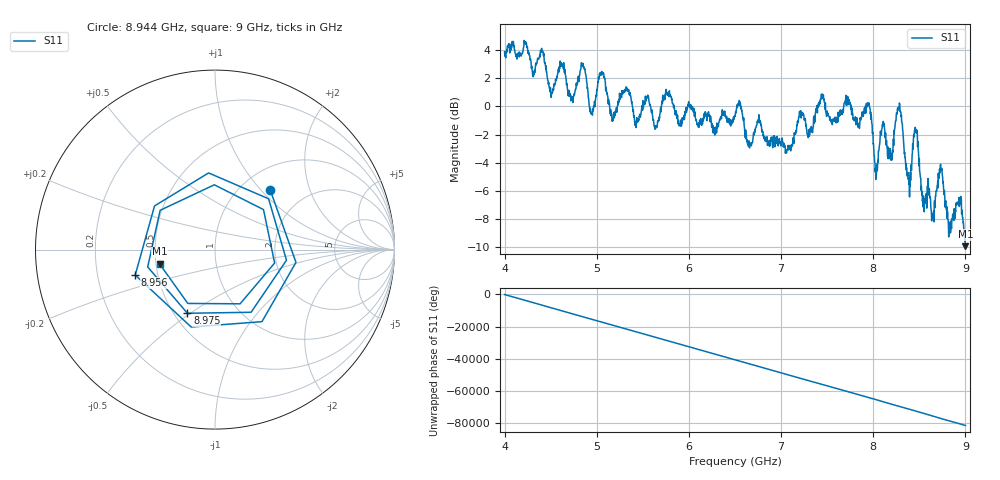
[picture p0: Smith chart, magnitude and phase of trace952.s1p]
! Created with skrf 1.8.0 (http://scikit-rf.org).
# Hz S RI R 50.0
!freq ReS11 ImS11
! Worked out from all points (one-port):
!   1601 points, 4 GHz to 9 GHz, reference 50 ohm
!   lowest |S11| = -9.9 dB at 9 GHz (marker M1), VSWR 1.94, Z = 26.1 - j4.6 ohm
!   |S11| at or under -10 dB: nowhere
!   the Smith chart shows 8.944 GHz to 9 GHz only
!   S11 on the Smith chart (normalised r, x): 8.944 GHz: 1.34, +1.13; 8.956 GHz: 0.37, -0.13; 8.975 GHz: 0.58, -0.49; 9 GHz: 0.52, -0.09
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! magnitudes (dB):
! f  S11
! 4 GHz  3.9
! 4.403 GHz  4.1
! 4.506 GHz  0.6
! 4.625 GHz  2.8
! 4.731 GHz  0.6
! 4.856 GHz  2.7
! 4.944 GHz  -0.4
! 5.05 GHz  2.3
! 5.166 GHz  -1.0
! 5.25 GHz  0.7
! 5.875 GHz  -0.6
! 6.5 GHz  -0.7
! 7.125 GHz  -2.7
! 7.441 GHz  0.6
! 7.75 GHz  0.1
! 7.947 GHz  0.1
! 8.034 GHz  -4.8
! 8.281 GHz  -0.2
! 8.375 GHz  -4.7
! 8.459 GHz  -1.8
! 8.559 GHz  -6.6
! 8.65 GHz  -7.7
! 8.731 GHz  -4.1
! 8.828 GHz  -8.9
! 8.944 GHz  -6.9
! 8.956 GHz  -6.6
! 8.975 GHz  -8.3
! 9 GHz  -9.9
